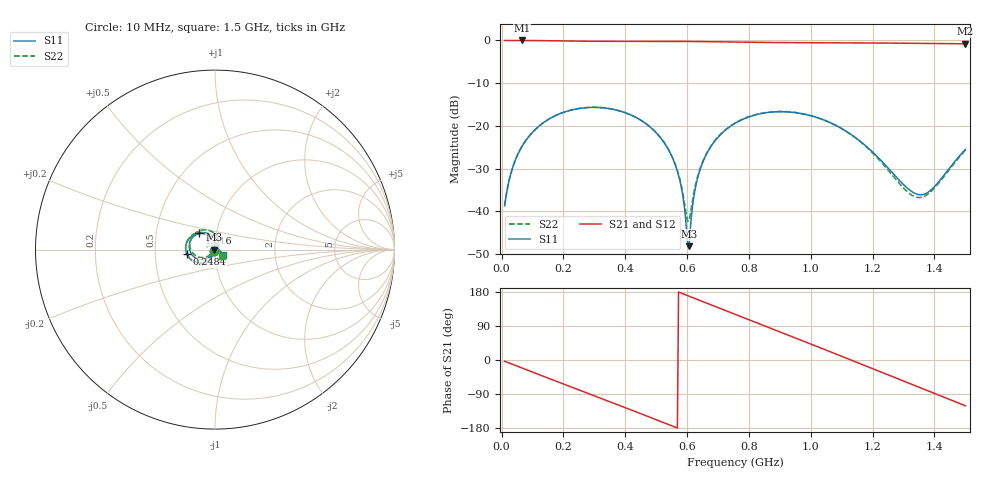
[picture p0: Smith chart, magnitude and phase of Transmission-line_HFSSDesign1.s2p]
! Touchstone file exported from HFSS 2026.1.0
!  File:  C:/Users/017978376/Documents/EE140L/EE140L/lab6_transmission-line-S-shape/Transmission-line.aedt
!  Generated:  06:16:56 PM Nov 11, 2026
!  Design:  HFSSDesign1
!  Project:  Transmission-line
!  Setup:  Setup1
!  Solution:  Sweep
! Variables:
!  a_x = 50mm
!  a_y = 50mm
!  cu_th = 0.035mm
!  er = 4.4
!  h = 1.6mm
!  t = 1.6mm
!  w = 3mm
# GHz S MA R 50.000000
! Terminal data exported
! Port[1] = 1
! Port[2] = 2
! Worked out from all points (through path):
!   401 points, 10 MHz to 1.5 GHz, reference 50 ohm
!   highest |S21| = -0.07 dB at 65.88 MHz (marker M1); lowest = -0.9 dB at 1.5 GHz (marker M2)
!   group delay of S21, straight-line fit = 890 ps
!   lowest |S11| = -48.2 dB at 606 MHz (marker M3), VSWR 1.01, Z = 49.6 - j0.0641 ohm
!   |S11| at or under -10 dB: start of sweep to end of sweep
!   |S22| runs from -42.3 to -15.7 dB; largest |S21 - S12| = 1.6e-11
!   S11 on the Smith chart (normalised r, x): 10 MHz: 0.98, -0.02; 248.4 MHz: 0.73, -0.04; 1.016 GHz: 0.83, +0.15; 1.5 GHz: 1.09, -0.07
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0.01  0.01157 -132.7  0.9903 -3.2  0.9903 -3.2  0.01172 -133.6
! Gamma 50 0 50 0
! Port Impedance 50 0 50 0
0.036075  0.03252 -112.9  0.9909 -11.5  0.9909 -11.5  0.03259 -113.4
0.065875  0.05709 -115.7  0.9915 -21.0  0.9915 -21.0  0.05714 -116.3
0.140375  0.1116 -137.1  0.9848 -44.6  0.9848 -44.6  0.1117 -138.2
0.2484  0.1585 -170.4  0.9727 -78.4  0.9727 -78.4  0.1587 -172.2
0.259575  0.1607 -173.8  0.9718 -81.8  0.9718 -81.8  0.1609 -175.7
0.378775  0.1499 150.0  0.9675 -119.0  0.9675 -119.0  0.1502 147.4
0.50915  0.07612 111.1  0.9683 -160.4  0.9683 -160.4  0.07636 108.9
0.56875  0.02932 96.9  0.9669 -179.5  0.9669 -179.5  0.02986 98.7
0.58365  0.01729 97.3  0.9662 175.7  0.9662 175.7  0.01828 103.6
0.59855  0.005928 118.5  0.9654 170.9  0.9654 170.9  0.008715 134.3
0.606  0.003912 -170.5  0.9649 168.5  0.9649 168.5  0.007731 175.1
0.62835  0.01986 -119.3  0.9633 161.3  0.9633 161.3  0.02129 -135.8
0.654425  0.0402 -122.0  0.961 152.9  0.961 152.9  0.0412 -134.0
0.755  0.1065 -149.8  0.95 120.6  0.95 120.6  0.1075 -159.6
0.877925  0.1446 173.7  0.9381 81.3  0.9381 81.3  0.1457 162.7
1.004575  0.1294 136.6  0.9325 40.7  0.9325 40.7  0.1301 123.2
1.01575  0.1259 133.4  0.9322 37.1  0.9322 37.1  0.1265 119.7
1.13495  0.07693 100.7  0.9291 -1.6  0.9291 -1.6  0.07644 82.7
1.25415  0.03081 73.5  0.9235 -40.5  0.9235 -40.5  0.02907 47.9
1.35845  0.01562 35.7  0.9169 -74.5  0.9169 -74.5  0.01459 11.4
1.5  0.05293 -34.6  0.9059 -120.7  0.9059 -120.7  0.05173 -44.6
